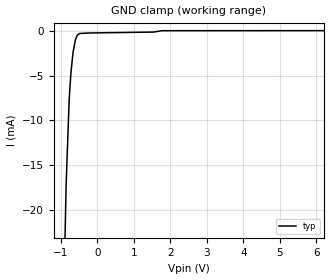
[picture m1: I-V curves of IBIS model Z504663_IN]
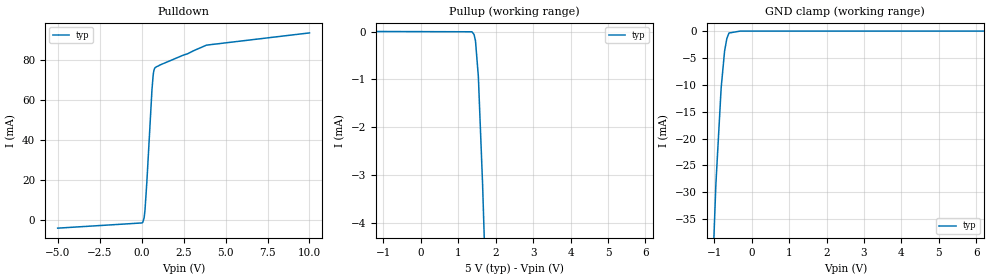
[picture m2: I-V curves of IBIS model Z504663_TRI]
| YOU ARE ONLY AUTHORIZED TO USE THIS SOFTWARE
| ACCORDING TO LICENSOR'S LICENSE RESTRICTIONS.
[IBIS Ver] 3.1
[File Name] sn74ls367ad.ibs
[File Rev] 2.0
[Source] Measured and created by ICX Technology
[Date] Friday 7/14/00 9:08:19 AM
[Copyright]
| (C) COPYRIGHT 1993-2000
| MENTOR GRAPHICS CORPORATION
| ICX STANDARD LIBRARY, ICX PROJECT MODELING,
| ICX CUSTOM MODELING, ICX VENDOR MODEL
| ALL RIGHTS RESERVED.
| THE FOLLOWING ARE TRADEMARKS OR SERVICE MARKS OF
| MENTOR GRAPHICS CORPORATION:ICX (R), ICX STANDARD
| LIBRARY(R), ICX PROJECT MODELING(R), ICX CUSTOM
| MODELING(R), qualityIBIS(TM), MODELVIEWER(TM),
| AND MODELEDITOR(TM)
| ALL COPIES OF SOFTWARE, INCLUDING BUT NOT LIMITED TO
| ANY MODIFICATIONS, ENHANCEMENTS OR DERIVATIVE WORKS,
| MUST CONTAIN ALL MENTOR GRAPHICS CORPORATION'S
| NOTICES AND LEGENDS, INCLUDING THOSE EMBEDDED IN
| SOFTWARE AND THOSE AFFIXED TO SOFTWARE MEDIUM
| AND CONTAINER, AS RECEIVED FROM MENTOR GRAPHICS
| CORPORATION.
|  ZAP Model Builder 2.7
[Component] SN74LS367AD
[Manufacturer] OnSemiconductor
[Package]
| variable   typ   min   max
R_pkg  .156ohms NA NA
L_pkg  3.148nH NA NA
C_pkg  .388pF NA NA
[Pin] signal_name  model_name  R_pin  L_pin C_pin
1 _G1 Z504663_IN .162 3.798n .418p
2 A0 Z504663_IN .158 3.358n .398p
3 Y0 Z504663_TRI .154 2.928n .378p
4 A1 Z504663_IN .15 2.508n .358p
5 Y1 Z504663_TRI .15 2.508n .358p
6 A2 Z504663_IN .154 2.928n .378p
7 Y2 Z504663_TRI .158 3.358n .398p
8 GND GND .162 3.798n .418p
9 Y3 Z504663_TRI .162 3.798n .418p
10 A3 Z504663_IN .158 3.358n .398p
11 Y4 Z504663_TRI .154 2.928n .378p
12 A4 Z504663_IN .15 2.508n .358p
13 Y5 Z504663_TRI .15 2.508n .358p
14 A5 Z504663_IN .154 2.928n .378p
15 _G2 Z504663_IN .158 3.358n .398p
16 VCC POWER .162 3.798n .418p
| Models and submodels in the file (2): Z504663_IN (Input), Z504663_TRI (3-state)
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| (C) COPYRIGHT 1993-2000
| MENTOR GRAPHICS CORPORATION
| ICX STANDARD LIBRARY, ICX PROJECT MODELING,
| ICX CUSTOM MODELING, ICX VENDOR MODEL
| ALL RIGHTS RESERVED.
| THE FOLLOWING ARE TRADEMARKS OR SERVICE MARKS OF
| MENTOR GRAPHICS CORPORATION:ICX (R), ICX STANDARD
| LIBRARY(R), ICX PROJECT MODELING(R), ICX CUSTOM
| MODELING(R), qualityIBIS(TM), MODELVIEWER(TM),
| AND MODELEDITOR(TM)
| ALL COPIES OF SOFTWARE, INCLUDING BUT NOT LIMITED TO
| ANY MODIFICATIONS, ENHANCEMENTS OR DERIVATIVE WORKS,
| MUST CONTAIN ALL MENTOR GRAPHICS CORPORATION'S
| NOTICES AND LEGENDS, INCLUDING THOSE EMBEDDED IN
| SOFTWARE AND THOSE AFFIXED TO SOFTWARE MEDIUM
| AND CONTAINER, AS RECEIVED FROM MENTOR GRAPHICS
| CORPORATION.
| Model Application Version 1.89 2/18/99.
[Model] Z504663_IN
Model_type Input
Vinl = 800.0mV
Vinh = 2.000V
C_comp 4.000pF NA NA
| variable typ   min   max
[Voltage Range] 5.000V NA NA
[GND Clamp Reference] 0.000V NA NA
[POWER Clamp Reference] 5.000V NA NA
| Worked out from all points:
|   GND clamp passes 1 mA (typ) near -0.60 V on its own axis
[GND Clamp]
-5V       -819.6mA   NA         NA
-854.5mV  -17.13mA   NA         NA
-771mV    -7.653mA   NA         NA
-722.7mV  -4.652mA   NA         NA
-663.2mV  -2.365mA   NA         NA
-600.1mV  -998.1uA   NA         NA
-546.1mV  -483.8uA   NA         NA
-483.4mV  -316.7uA   NA         NA
-241.7mV  -261.5uA   NA         NA
1.544V    -157.3uA   NA         NA
1.763V    -5.025uA   NA         NA
10V       8.504uA    NA         NA
[POWER Clamp]
-5V       0A         NA         NA
10V       0A         NA         NA
| (C) COPYRIGHT 1993-2000
| MENTOR GRAPHICS CORPORATION
| ICX STANDARD LIBRARY, ICX PROJECT MODELING,
| ICX CUSTOM MODELING, ICX VENDOR MODEL
| ALL RIGHTS RESERVED.
| THE FOLLOWING ARE TRADEMARKS OR SERVICE MARKS OF
| MENTOR GRAPHICS CORPORATION:ICX (R), ICX STANDARD
| LIBRARY(R), ICX PROJECT MODELING(R), ICX CUSTOM
| MODELING(R), qualityIBIS(TM), MODELVIEWER(TM),
| AND MODELEDITOR(TM)
| ALL COPIES OF SOFTWARE, INCLUDING BUT NOT LIMITED TO
| ANY MODIFICATIONS, ENHANCEMENTS OR DERIVATIVE WORKS,
| MUST CONTAIN ALL MENTOR GRAPHICS CORPORATION'S
| NOTICES AND LEGENDS, INCLUDING THOSE EMBEDDED IN
| SOFTWARE AND THOSE AFFIXED TO SOFTWARE MEDIUM
| AND CONTAINER, AS RECEIVED FROM MENTOR GRAPHICS
| CORPORATION.
| Model Application Version 1.89 2/18/99.
[Model] Z504663_TRI
Model_type 3-state
Vref=588.0mV
Rref=588.5ohms
Cref=45.00pF
Vmeas=1.300V
C_comp 8.000pF NA NA
| variable typ   min   max
[Voltage Range] 5.000V NA NA
[POWER Clamp Reference] 5.000V NA NA
[Pullup Reference] 5.000V NA NA
[Pulldown Reference] 0.000V NA NA
[GND Clamp Reference] 0.000V NA NA
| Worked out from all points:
|   slope of the pulldown table from 0 to 0.75 V, typ, clamps not added: 9.76 ohm
|   GND clamp passes 1 mA (typ) near -0.64 V on its own axis
[GND Clamp]
-5V       -1.089A    NA         NA
-1.089V   -53.4mA    NA         NA
-955.5mV  -28.47mA   NA         NA
-814.9mV  -10.57mA   NA         NA
-723.1mV  -3.715mA   NA         NA
-663.8mV  -1.403mA   NA         NA
-605.6mV  -355.4uA   NA         NA
-302.8mV  0A         NA         NA
10V       0A         NA         NA
[Pulldown]
-5V       -4.096mA   NA         NA
68.74mV   -1.181mA   NA         NA
151.3mV   1.079mA    NA         NA
204.6mV   5.32mA     NA         NA
311.9mV   18.93mA    NA         NA
615.3mV   65.05mA    NA         NA
689.1mV   72.66mA    NA         NA
727.2mV   74.75mA    NA         NA
802.5mV   76.34mA    NA         NA
3.862V    87.64mA    NA         NA
10V       93.78mA    NA         NA
[Pullup]
-5V       13.9uA     NA         NA
1.365V    -1.232uA   NA         NA
1.421V    -56.55uA   NA         NA
1.46V     -187.9uA   NA         NA
1.537V    -941.6uA   NA         NA
1.65V     -3.197mA   NA         NA
10V       -214.5mA   NA         NA
[POWER Clamp]
-5V       0A         NA         NA
10V       0A         NA         NA
[Ramp]
| variable typ min max
dV/dt_r 1.870/7.588n NA NA
dV/dt_f 1.870/1.473n NA NA
R_load = 500.0Ohms
